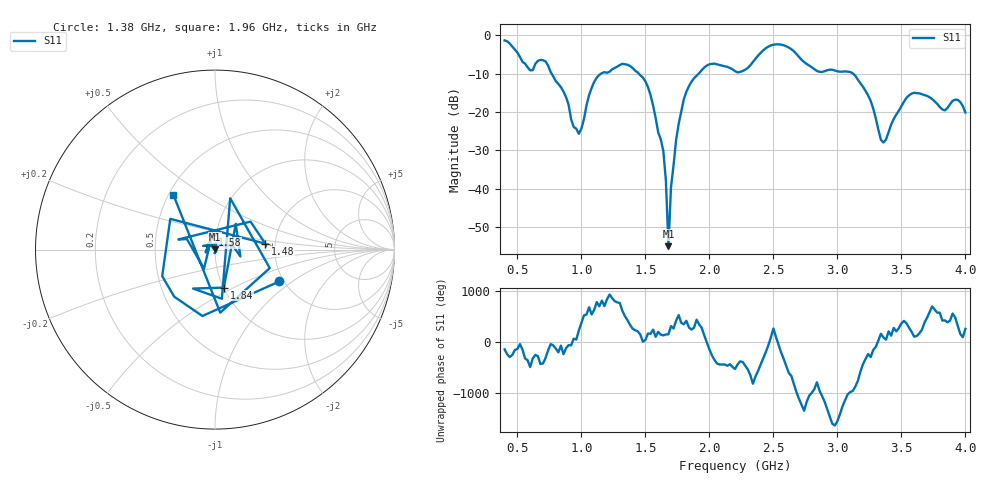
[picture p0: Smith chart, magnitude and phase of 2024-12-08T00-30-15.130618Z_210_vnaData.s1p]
!Created with skrf (http://scikit-rf.org).
# Hz S RI R 50.0
!freq ReS11 ImS11
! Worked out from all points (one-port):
!   181 points, 400 MHz to 4 GHz, reference 50 ohm
!   lowest |S11| = -55.0 dB at 1.68 GHz (marker M1), VSWR 1.00, Z = 49.8 + j0.0895 ohm
!   |S11| at or under -10 dB: 767.8 MHz to 1.153 GHz (384.9 MHz wide, 40.1 % of centre); 1.449 GHz to 1.915 GHz (465.8 MHz wide, 27.7 % of centre); 3.123 GHz to end of sweep
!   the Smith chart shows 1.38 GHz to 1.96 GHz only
!   S11 on the Smith chart (normalised r, x): 1.38 GHz: 1.89, -0.80; 1.48 GHz: 1.77, +0.13; 1.58 GHz: 0.96, +0.16; 1.84 GHz: 1.00, -0.45; 1.96 GHz: 0.53, +0.38
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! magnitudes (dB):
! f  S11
! 400 MHz  -1.3
! 600 MHz  -9.1
! 720 MHz  -6.8
! 860 MHz  -14.6
! 980 MHz  -25.7
! 1.1 GHz  -12.1
! 1.3 GHz  -7.7
! 1.38 GHz  -8.0
! 1.48 GHz  -11.0
! 1.58 GHz  -21.5
! 1.64 GHz  -30.1
! 1.66 GHz  -37.8
! 1.68 GHz  -55.0
! 1.7 GHz  -39.6
! 1.76 GHz  -23.1
! 1.84 GHz  -13.3
! 1.96 GHz  -8.3
! 2.2 GHz  -9.3
! 2.48 GHz  -2.6
! 2.66 GHz  -4.1
! 2.84 GHz  -9.3
! 3.1 GHz  -9.5
! 3.26 GHz  -17.1
! 3.36 GHz  -27.9
! 3.56 GHz  -15.6
! 3.84 GHz  -19.5
! 3.94 GHz  -16.8
! 4 GHz  -20.1
